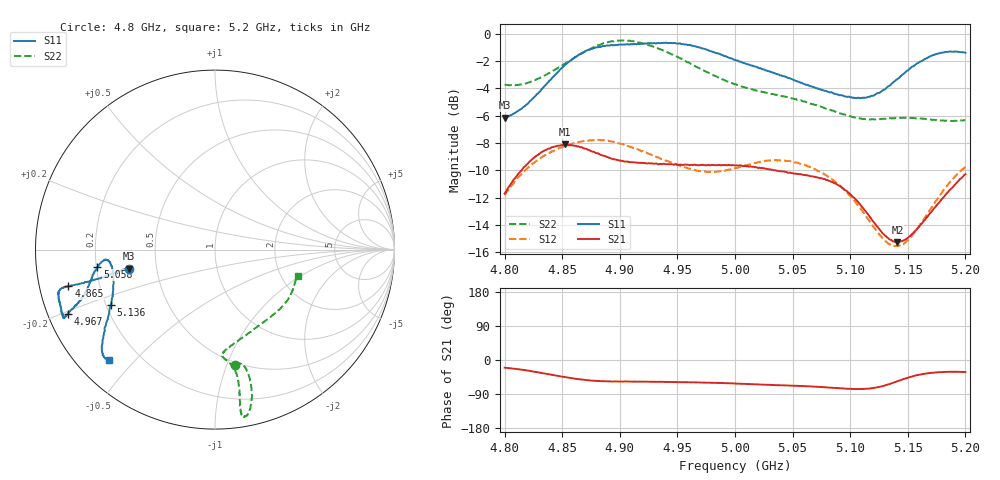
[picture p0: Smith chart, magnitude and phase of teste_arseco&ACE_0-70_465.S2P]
! Network Analyzer HP8722D
! Hewlett-Packard
! Data name: Linha & Wilkinson
! Saver's name: Rodrigo Anjos
! Comments: Teste da utilização de aquisição
! continua pelo VNA HP8722D
! Time and date: 8/5/2025 16:38
!  Frequency  S11  S21  S12  S22
# HZ  S  MA R 50
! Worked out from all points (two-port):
!   401 points, 4.8 GHz to 5.2 GHz, reference 50 ohm
!   highest |S21| = -8.10 dB at 4.852 GHz (marker M1); lowest = -15.3 dB at 5.141 GHz (marker M2)
!   |S21| within 3 dB of the highest: 4.805 GHz to 5.09 GHz (285.3 MHz wide, 5.77 % of centre); 5.190335 GHz to end of sweep
!   lowest |S11| = -6.1 dB at 4.8 GHz (marker M3), VSWR 2.94, Z = 17.2 - j4.83 ohm
!   |S11| at or under -10 dB: nowhere
!   |S22| runs from -6.4 to -0.5 dB; largest |S21 - S12| = 0.62
!   S11 on the Smith chart (normalised r, x): 4.8 GHz: 0.34, -0.10; 4.865 GHz: 0.09, -0.12; 4.967 GHz: 0.06, -0.21; 5.058 GHz: 0.20, -0.07; 5.136 GHz: 0.22, -0.24; 5.2 GHz: 0.09, -0.42
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4.8e9  0.4929 -167.5  0.26 -20.3  0.2565 -141.5  0.6515 -80.1
4.826e9  0.5876 -166.9  0.3531 -31.0  0.3378 -145.6  0.6759 -75.8
4.852e9  0.7658 -165.8  0.3934 -44.8  0.3881 -150.3  0.7758 -75.0
4.865e9  0.8412 -166.0  0.3853 -50.9  0.4017 -152.5  0.8388 -75.8
4.867e9  0.8515 -165.9  0.3843 -51.7  0.4033 -152.8  0.8487 -76.0
4.88e9  0.8918 -165.5  0.3651 -55.2  0.4086 -154.7  0.9028 -77.3
4.899e9  0.9121 -163.0  0.344 -56.9  0.3974 -157.1  0.9438 -79.6
4.934e9  0.9249 -156.5  0.3333 -57.8  0.3519 -155.8  0.881 -80.9
4.967e9  0.8961 -156.4  0.3304 -59.1  0.3151 -148.2  0.7555 -79.9
5e9  0.8029 -159.3  0.3295 -62.0  0.3224 -137.5  0.6527 -81.5
5.032e9  0.7224 -165.0  0.3177 -66.1  0.3438 -134.8  0.6024 -85.7
5.058e9  0.6617 -171.7  0.3052 -68.7  0.3324 -136.8  0.5686 -84.7
5.067e9  0.6397 -173.4  0.3007 -69.9  0.323 -137.6  0.5524 -82.5
5.082e9  0.6103 -174.8  0.2892 -72.6  0.2977 -139.0  0.528 -77.0
5.099e9  0.5887 -172.4  0.2611 -76.0  0.2571 -139.4  0.4998 -67.3
5.116e9  0.5875 -164.5  0.2166 -75.6  0.2084 -135.3  0.486 -55.1
5.134e9  0.6452 -153.3  0.1767 -63.5  0.1697 -119.2  0.4904 -42.9
5.136e9  0.657 -152.1  0.1756 -61.6  0.1675 -116.6  0.4898 -41.8
5.141e9  0.6832 -149.6  0.1724 -55.9  0.1668 -109.8  0.4917 -38.8
5.154e9  0.7589 -144.2  0.1855 -43.2  0.1832 -93.9  0.4916 -32.2
5.173e9  0.838 -138.8  0.23 -33.2  0.2391 -80.7  0.4843 -24.1
5.2e9  0.8516 -133.8  0.306 -31.8  0.3254 -77.4  0.4823 -17.6
